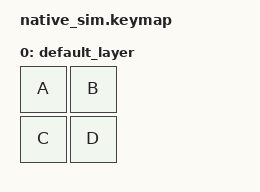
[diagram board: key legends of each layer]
#include <dt-bindings/zmk/keys.h>
#include <behaviors.dtsi>
#include <dt-bindings/zmk/kscan_mock.h>

/*
 * Ryong port of upstream ZMK 6a7590c1 ("fix(combo): reschedule timeout timer, not just
 * schedule it", #3514) for the runtime combo engine.
 *
 * The pending-combo timeout must move when the earliest candidate deadline changes.
 * k_work_schedule() keeps an already armed deadline, so pressing A arms T+15 (slot 0),
 * pressing B leaves only slots 1/2 (deadline T+205), and the stale T+15 run then finds
 * "not yet due" and nothing re-arms the timer: A+B would stay pending until the next key
 * event. With k_work_reschedule() the timer fires at T+205 and slot 1 (Y) is pressed
 * while both keys are still held.
 */

/ {
    runtime_combo_defaults {
        compatible = "cormoran,runtime-combo-defaults";

        combo_short_timeout {
            slot = <0>;
            timeout-ms = <10>;
            key-positions = <0 2>;
            bindings = <&kp X>;
        };

        combo_two_keys {
            slot = <1>;
            timeout-ms = <200>;
            key-positions = <0 1>;
            bindings = <&kp Y>;
        };

        combo_three_keys {
            slot = <2>;
            timeout-ms = <200>;
            key-positions = <0 1 3>;
            bindings = <&kp Z>;
        };
    };

    keymap {
        compatible = "zmk,keymap";

        default_layer {
            bindings = <
                &kp A &kp B
                &kp C &kp D
            >;
        };
    };
};

&kscan {
    rows = <2>;
    columns = <2>;
    events = <
        /* T+5: press A. All three combos are candidates; slot 0 (10 ms) is the earliest. */
        ZMK_MOCK_PRESS(0,0,5)
        /* T+10: press B. Slot 0 drops out; slots 1 and 2 time out at T+205. Wait past
         * that with no key events, so only the timeout task can resolve the combo. */
        ZMK_MOCK_PRESS(0,1,250)
    >;
};
